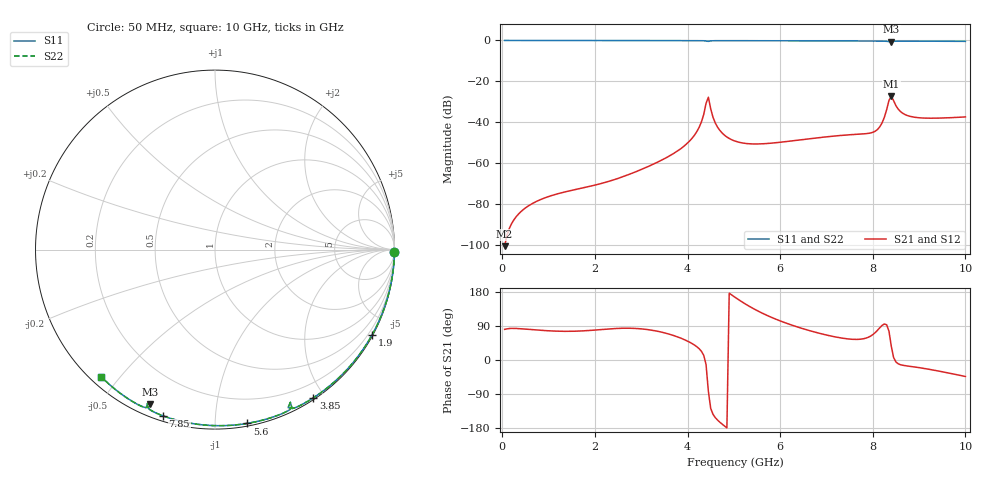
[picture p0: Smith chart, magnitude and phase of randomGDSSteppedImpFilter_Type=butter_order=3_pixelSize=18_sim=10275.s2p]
! freq	dB(S11)	phase(S11)	dB(S12)	phase(S12)
!  dB(S21)	phase(S21)	dB(S22)	phase(S22)
!S-par simulation data
#  GHz  S  DB  R 50
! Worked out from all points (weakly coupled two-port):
!   200 points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, 50 MHz to 10 GHz, reference 50 ohm
!   highest |S21| = -27.20 dB at 8.4 GHz (marker M1); lowest = -100.5 dB at 50 MHz (marker M2)
!   lowest |S11| = -0.6 dB at 8.4 GHz (marker M3), VSWR 28.89, Z = 2.5 - j33.3 ohm
!   |S11| at or under -10 dB: nowhere
!   |S22| runs from -0.6 to 0.0 dB; largest |S21 - S12| = 0
!   S11 on the Smith chart (normalised r, x): 50 MHz: open; 1.9 GHz: 0.03, -3.93; 3.85 GHz: 0.02, -1.86; 5.6 GHz: 0.02, -1.20; 7.85 GHz: 0.02, -0.73; 10 GHz: 0.03, -0.45
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0.05  -0.00 -0.8  -100.55 80.8  -100.55 80.8  -0.00 -0.8
0.6  -0.01 -9.1  -80.35 80.5  -80.35 80.5  -0.01 -9.1
1.75  -0.03 -26.3  -72.02 76.9  -72.02 76.9  -0.03 -26.3
1.9  -0.04 -28.5  -71.25 78.1  -71.25 78.1  -0.04 -28.5
3.4  -0.07 -50.1  -58.95 74.6  -58.95 74.6  -0.07 -50.1
3.85  -0.08 -56.5  -52.99 57.9  -52.99 57.9  -0.08 -56.5
4.1  -0.09 -60.0  -47.74 43.2  -47.74 43.2  -0.09 -60.0
4.25  -0.10 -62.2  -42.47 29.8  -42.47 29.8  -0.10 -62.2
4.45  -0.45 -63.7  -27.75 -82.7  -27.75 -82.7  -0.46 -63.7
4.55  -0.14 -65.1  -37.55 -143.2  -37.55 -143.2  -0.14 -65.1
4.65  -0.11 -66.7  -42.44 -158.7  -42.44 -158.7  -0.11 -66.7
5.05  -0.11 -72.3  -49.34 163.5  -49.34 163.5  -0.11 -72.3
5.6  -0.13 -79.5  -50.53 124.4  -50.53 124.4  -0.13 -79.5
6.7  -0.18 -93.4  -47.87 75.2  -47.87 75.2  -0.18 -93.4
7.85  -0.26 -107.4  -45.57 57.6  -45.57 57.6  -0.26 -107.4
8.15  -0.30 -111.1  -42.27 84.9  -42.27 84.9  -0.30 -111.2
8.25  -0.35 -112.6  -37.56 95.1  -37.56 95.1  -0.35 -112.6
8.35  -0.56 -113.7  -29.32 76.0  -29.32 76.0  -0.56 -113.7
8.4  -0.60 -112.7  -27.20 36.2  -27.20 36.2  -0.60 -112.7
8.55  -0.32 -114.6  -33.60 -10.1  -33.60 -10.1  -0.32 -114.6
8.8  -0.32 -117.9  -37.07 -16.7  -37.07 -16.7  -0.32 -117.9
10  -0.44 -131.8  -37.38 -43.5  -37.38 -43.5  -0.44 -131.8
